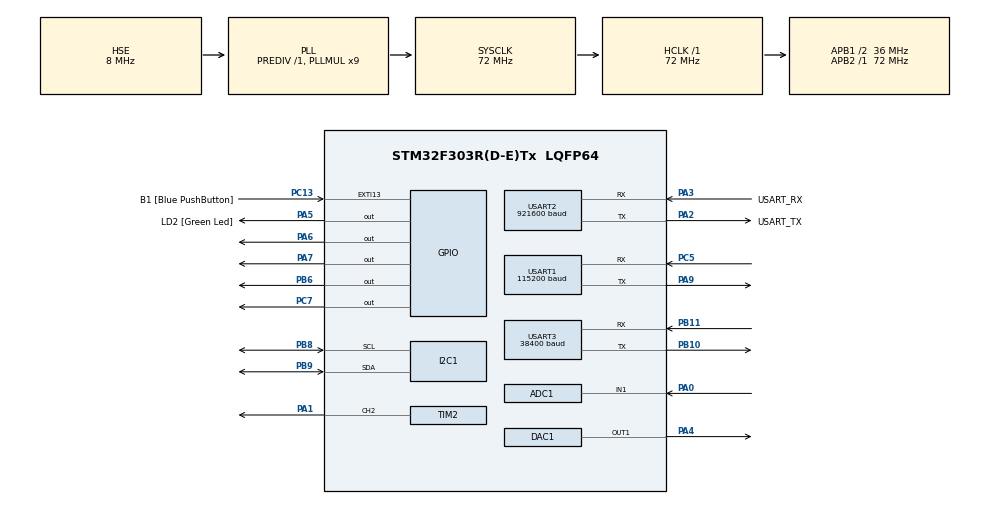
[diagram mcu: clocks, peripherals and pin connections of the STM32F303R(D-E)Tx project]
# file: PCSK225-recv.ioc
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ADC1.Channel-0\#ChannelRegularConversion=ADC_CHANNEL_1
ADC1.ClockPrescaler=ADC_CLOCK_SYNC_PCLK_DIV1
ADC1.ContinuousConvMode=DISABLE
ADC1.DMAContinuousRequests=ENABLE
ADC1.ExternalTrigConv=ADC_EXTERNALTRIGCONV_T3_TRGO
ADC1.NbrOfConversionFlag=1
ADC1.Offset-0\#ChannelRegularConversion=0
ADC1.OffsetNumber-0\#ChannelRegularConversion=ADC_OFFSET_NONE
ADC1.Rank-0\#ChannelRegularConversion=1
ADC1.Resolution=ADC_RESOLUTION_12B
ADC1.SamplingTime-0\#ChannelRegularConversion=ADC_SAMPLETIME_19CYCLES_5
ADC1.master=1
DAC1.DAC_Trigger=DAC_TRIGGER_T4_TRGO
Dma.ADC1.0.Direction=DMA_PERIPH_TO_MEMORY
Dma.ADC1.0.Instance=DMA1_Channel1
Dma.ADC1.0.MemDataAlignment=DMA_MDATAALIGN_HALFWORD
Dma.ADC1.0.MemInc=DMA_MINC_ENABLE
Dma.ADC1.0.Mode=DMA_CIRCULAR
Dma.ADC1.0.PeriphDataAlignment=DMA_PDATAALIGN_HALFWORD
Dma.ADC1.0.PeriphInc=DMA_PINC_DISABLE
Dma.ADC1.0.Priority=DMA_PRIORITY_LOW
Dma.DAC1_CH1.1.Direction=DMA_MEMORY_TO_PERIPH
Dma.DAC1_CH1.1.Instance=DMA1_Channel3
Dma.DAC1_CH1.1.MemDataAlignment=DMA_MDATAALIGN_HALFWORD
Dma.DAC1_CH1.1.MemInc=DMA_MINC_ENABLE
Dma.DAC1_CH1.1.Mode=DMA_CIRCULAR
Dma.DAC1_CH1.1.PeriphDataAlignment=DMA_PDATAALIGN_HALFWORD
Dma.DAC1_CH1.1.PeriphInc=DMA_PINC_DISABLE
Dma.DAC1_CH1.1.Priority=DMA_PRIORITY_LOW
Dma.Request0=ADC1
Dma.Request1=DAC1_CH1
Dma.Request2=USART2_TX
Dma.Request3=USART1_TX
Dma.Request4=USART3_TX
Dma.USART1_TX.3.Direction=DMA_MEMORY_TO_PERIPH
Dma.USART1_TX.3.Instance=DMA1_Channel4
Dma.USART1_TX.3.MemDataAlignment=DMA_MDATAALIGN_BYTE
Dma.USART1_TX.3.MemInc=DMA_MINC_ENABLE
Dma.USART1_TX.3.Mode=DMA_NORMAL
Dma.USART1_TX.3.PeriphDataAlignment=DMA_PDATAALIGN_BYTE
Dma.USART1_TX.3.PeriphInc=DMA_PINC_DISABLE
Dma.USART1_TX.3.Priority=DMA_PRIORITY_LOW
Dma.USART2_TX.2.Direction=DMA_MEMORY_TO_PERIPH
Dma.USART2_TX.2.Instance=DMA1_Channel7
Dma.USART2_TX.2.MemDataAlignment=DMA_MDATAALIGN_BYTE
Dma.USART2_TX.2.MemInc=DMA_MINC_ENABLE
Dma.USART2_TX.2.Mode=DMA_NORMAL
Dma.USART2_TX.2.PeriphDataAlignment=DMA_PDATAALIGN_BYTE
Dma.USART2_TX.2.PeriphInc=DMA_PINC_DISABLE
Dma.USART2_TX.2.Priority=DMA_PRIORITY_LOW
Dma.USART3_TX.4.Direction=DMA_MEMORY_TO_PERIPH
Dma.USART3_TX.4.Instance=DMA1_Channel2
Dma.USART3_TX.4.MemDataAlignment=DMA_MDATAALIGN_BYTE
Dma.USART3_TX.4.MemInc=DMA_MINC_ENABLE
Dma.USART3_TX.4.Mode=DMA_NORMAL
Dma.USART3_TX.4.PeriphDataAlignment=DMA_PDATAALIGN_BYTE
Dma.USART3_TX.4.PeriphInc=DMA_PINC_DISABLE
Dma.USART3_TX.4.Priority=DMA_PRIORITY_LOW
I2C1.Timing=0x00201D2B
Mcu.Family=STM32F3
Mcu.Name=STM32F303R(D-E)Tx
Mcu.Package=LQFP64
NVIC.DMA1_Channel1_IRQn=true\:0\:0\:false\:false\:true\:false\:true\:true
NVIC.DMA1_Channel2_IRQn=true\:0\:0\:false\:false\:true\:false\:true\:true
NVIC.DMA1_Channel3_IRQn=true\:0\:0\:false\:false\:true\:false\:true\:true
NVIC.DMA1_Channel4_IRQn=true\:0\:0\:false\:false\:true\:false\:true\:true
NVIC.DMA1_Channel7_IRQn=true\:0\:0\:false\:false\:true\:false\:true\:true
NVIC.PriorityGroup=NVIC_PRIORITYGROUP_0
NVIC.TIM1_UP_TIM16_IRQn=true\:0\:0\:false\:false\:true\:true\:true\:true
NVIC.TIM2_IRQn=true\:0\:0\:false\:false\:true\:true\:true\:true
NVIC.USART1_IRQn=true\:0\:0\:false\:false\:true\:true\:true\:true
NVIC.USART2_IRQn=true\:0\:0\:false\:false\:true\:true\:true\:true
NVIC.USART3_IRQn=true\:0\:0\:false\:false\:true\:true\:true\:true
PA0.Mode=IN1-Single-Ended
PA0.Signal=ADC1_IN1
PA1.Signal=S_TIM2_CH2
PA13.GPIO_Label=TMS
PA13.Mode=Serial_Wire
PA13.Signal=SYS_JTMS-SWDIO
PA14.GPIO_Label=TCK
PA14.Mode=Serial_Wire
PA14.Signal=SYS_JTCK-SWCLK
PA2.GPIO_Label=USART_TX
PA2.GPIO_Mode=GPIO_MODE_AF_PP
PA2.GPIO_PuPd=GPIO_NOPULL
PA2.GPIO_Speed=GPIO_SPEED_FREQ_LOW
PA2.Mode=Asynchronous
PA2.Signal=USART2_TX
PA3.GPIO_Label=USART_RX
PA3.GPIO_Mode=GPIO_MODE_AF_PP
PA3.GPIO_PuPd=GPIO_NOPULL
PA3.GPIO_Speed=GPIO_SPEED_FREQ_LOW
PA3.Mode=Asynchronous
PA3.Signal=USART2_RX
PA4.Signal=COMP_DAC11_group
PA5.GPIO_Label=LD2 [Green Led]
PA5.GPIO_Mode=GPIO_MODE_OUTPUT_PP
PA5.GPIO_PuPd=GPIO_NOPULL
PA5.GPIO_Speed=GPIO_SPEED_FREQ_LOW
PA5.Signal=GPIO_Output
PA6.Signal=GPIO_Output
PA7.Signal=GPIO_Output
PA9.Mode=Asynchronous
PA9.Signal=USART1_TX
PB10.Mode=Asynchronous
PB10.Signal=USART3_TX
PB11.Mode=Asynchronous
PB11.Signal=USART3_RX
PB3.GPIO_Label=SWO
PB3.Signal=SYS_JTDO-TRACESWO
PB6.Signal=GPIO_Output
PB8.Mode=I2C
PB8.Signal=I2C1_SCL
PB9.Mode=I2C
PB9.Signal=I2C1_SDA
PC13.GPIO_Label=B1 [Blue PushButton]
PC13.GPIO_ModeDefaultEXTI=GPIO_MODE_IT_FALLING
PC13.Signal=GPXTI13
PC14-OSC32_IN.Mode=LSE-External-Oscillator
PC14-OSC32_IN.Signal=RCC_OSC32_IN
PC15-OSC32_OUT.Mode=LSE-External-Oscillator
PC15-OSC32_OUT.Signal=RCC_OSC32_OUT
PC5.Mode=Asynchronous
PC5.Signal=USART1_RX
PC7.Signal=GPIO_Output
PF0-OSC_IN.Mode=HSE-External-Clock-Source
PF0-OSC_IN.Signal=RCC_OSC_IN
PF1-OSC_OUT.Signal=RCC_OSC_OUT
ProjectManager.HeapSize=0x200
ProjectManager.StackSize=0x400
ProjectManager.TargetToolchain=STM32CubeIDE
RCC.AHBFreq_Value=72000000
RCC.APB1CLKDivider=RCC_HCLK_DIV2
RCC.APB1Freq_Value=36000000
RCC.APB1TimFreq_Value=72000000
RCC.APB2Freq_Value=72000000
RCC.APB2TimFreq_Value=72000000
RCC.CortexFreq_Value=72000000
RCC.HCLKFreq_Value=72000000
RCC.HSE_VALUE=8000000
RCC.HSI_VALUE=8000000
RCC.PLLM=8
RCC.PLLMUL=RCC_PLL_MUL9
RCC.PLLN=336
RCC.PLLP=RCC_PLLP_DIV4
RCC.PLLQ=7
RCC.PLLSourceVirtual=RCC_PLLSOURCE_HSE
RCC.RCC_PLLsource_Clock_Source_FROM_HSE=RCC_HSE_PREDIV_DIV2
RCC.SYSCLKFreq_VALUE=72000000
RCC.SYSCLKSourceVirtual=RCC_SYSCLKSOURCE_PLLCLK
RCC.USBFreq_Value=72000000
SH.COMP_DAC11_group.0=DAC1_OUT1,DAC_OUT1
SH.S_TIM2_CH2.0=TIM2_CH2,PWM Generation2 CH2
TIM1.Period=18000
TIM1.Prescaler=7999
TIM2.Channel-PWM\ Generation2\ CH2=TIM_CHANNEL_2
TIM2.OCPolarity_2=TIM_OCPOLARITY_HIGH
TIM2.Period=71999999
TIM3.Period=31
TIM3.TIM_MasterOutputTrigger=TIM_TRGO_UPDATE
TIM4.Period=8191
TIM4.TIM_MasterOutputTrigger=TIM_TRGO_UPDATE
USART1.BaudRate=115200
USART1.VirtualMode-Asynchronous=VM_ASYNC
USART2.BaudRate=921600
USART2.VirtualMode-Asynchronous=VM_ASYNC
USART3.BaudRate=38400
USART3.VirtualMode-Asynchronous=VM_ASYNC
VP_TIM1_VS_ClockSourceINT.Mode=Internal
VP_TIM2_VS_ClockSourceINT.Mode=Internal
VP_TIM3_VS_ClockSourceINT.Mode=Internal
VP_TIM4_VS_ClockSourceINT.Mode=Internal
board=NUCLEO-F303RE

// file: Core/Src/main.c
/* USER CODE BEGIN Header */
/**
  ******************************************************************************
  * @file           : main.c
  * @brief          : Main program body
  ******************************************************************************
  * @attention
  *
  * Copyright (c) 2025 STMicroelectronics.
  * All rights reserved.
  *
  * This software is licensed under terms that can be found in the LICENSE file
  * in the root directory of this software component.
  * If no LICENSE file comes with this software, it is provided AS-IS.
  *
  ******************************************************************************
  */
/* USER CODE END Header */
#include "main.h"

/* USER CODE BEGIN Includes */
#include <math.h>

#include "iq.h"

#include "datetime/nmea.h"
#include "mixers/ifMix.h"
#include "detectors/am.h"
#include "detectors/arctg2.h"
#include "detectors/pll.h"
#include "detectors/phaseMod.h"

#include "filters/dcOffset.h"
#include "filters/agc.h"

#include "decoders/pcsk225.h"
#include "decoders/eczas.h"

/* USER CODE END Includes */

/* USER CODE BEGIN PD */

// ADC cycles per sample
#define RF_TICKS_PER_SAMPLE 32

// rf sample rate
// cpu freq / ADC cycles per sample -> ~2.25 MSPS
#define RF_SAMPLE_RATE 72000000 / RF_TICKS_PER_SAMPLE

#define INPUT_SAMPLES 8192
#define INPUT_HALF_SAMPLES INPUT_SAMPLES/2

#define RF_IF_DECIMATION_POW2	8	//=256

#define AF_SAMPLE_RATE (RF_SAMPLE_RATE>>RF_IF_DECIMATION_POW2)

#define AF_SAMPLES (INPUT_SAMPLES>>RF_IF_DECIMATION_POW2)
#define AF_HALF_SAMPLES AF_SAMPLES/2

// AF ticks per sample (RF ticks per sample*decimation ratio)
#define AF_TICKS_PER_SAMPLE (RF_TICKS_PER_SAMPLE<<RF_IF_DECIMATION_POW2)

#define OUTPUT_SAMPLES 128
#define OUTPUT_HALF_SAMPLES OUTPUT_SAMPLES/2

#define UART_BUFFER (AF_HALF_SAMPLES*4+2)

/* USER CODE END PD */

ADC_HandleTypeDef hadc1;
DMA_HandleTypeDef hdma_adc1;

DAC_HandleTypeDef hdac1;
DMA_HandleTypeDef hdma_dac1_ch1;

I2C_HandleTypeDef hi2c1;

TIM_HandleTypeDef htim1;
TIM_HandleTypeDef htim2;
TIM_HandleTypeDef htim3;
TIM_HandleTypeDef htim4;

UART_HandleTypeDef huart1;
UART_HandleTypeDef huart2;
UART_HandleTypeDef huart3;
DMA_HandleTypeDef hdma_usart1_tx;
DMA_HandleTypeDef hdma_usart2_tx;
DMA_HandleTypeDef hdma_usart3_tx;

void SystemClock_Config(void);
static void MX_GPIO_Init(void);
static void MX_DMA_Init(void);
static void MX_USART2_UART_Init(void);
static void MX_ADC1_Init(void);
static void MX_DAC1_Init(void);
static void MX_TIM3_Init(void);
static void MX_USART3_UART_Init(void);
static void MX_I2C1_Init(void);
static void MX_USART1_UART_Init(void);
static void MX_TIM4_Init(void);
static void MX_TIM2_Init(void);
static void MX_TIM1_Init(void);
/* USER CODE BEGIN PFP */

uint16_t dacOut[OUTPUT_SAMPLES] = {0};
uint16_t rf[INPUT_SAMPLES];

uint16_t *rfFrameBegin = rf;
uint16_t *rfFrameHalf = &rf[INPUT_HALF_SAMPLES];

// these variables are updated from ADC full/half complete interrupts
volatile size_t rfFrameUpdated = INPUT_SAMPLES;
volatile size_t afFrameToUpdate = 0;

size_t rfFrameLastUpdated = 0;

//AF I and Q
struct IQ af_IQ[AF_SAMPLES];
struct IQ *afFrameBegin = af_IQ;
struct IQ *afFrameHalf = &af_IQ[AF_HALF_SAMPLES];
struct IQ *afFrameEnd = &af_IQ[AF_SAMPLES];

struct IQ *afCurrentFrame = af_IQ;

struct IQ filteredIQ;

size_t dacOutPushed = 0;

uint8_t txData[UART_BUFFER] = {0};
size_t txDataPushed = 0;

#define DC_OFFSET_FILTER_WINDOW_ORDER 7		//128
uint16_t dcOffset;

#define AGC_FILTER_WINDOW_ORDER 8		//256
uint32_t agc;

// num of samples from sync bit peak occured to detected
// shared to phaseMod, but needed to calculate sync diff
const uint32_t phaseModSyncBitWidth = 100;

// num of samples per PCSK225 bit (calculated by phaseMod_init)
uint32_t samplesPerPcskBit = 0;

enum {
	IDLE,
	DECODE_PCSK225,
	DECODE_ECZAS
} decoderState = IDLE;

pcsk225Frame pcsk;
eCzasFrame eCzas;

// master timer (seconds from 2000), update from timer irq
volatile uint32_t mstTimer = 0;

// flag that tick happened (set from timer irq, reset by loop)
volatile uint32_t wasTick = 0;

// flag that was sync interrupt (set from sync timer irq, reset by loop)
volatile uint32_t wasSyncIRQ = 0;

// flag that locks resetting sync timer if started to receive sync frame
volatile uint32_t lockSyncTimerReset = 0;

// flag that occurs that we have recived legit eCzas frame and will be used to sync
volatile uint32_t eczasFrameRecvd = 0;

// offset between first bit and sync timer started in samples
volatile uint32_t syncTimerOffset = 0;

// sync status
typedef enum {
	INIT_NO_SYNC,
	SYNCED,
	SYNC_LOST
} syncState_t;

syncState_t syncState = INIT_NO_SYNC;
syncState_t prevSyncState = INIT_NO_SYNC;

// timestamp of last sync	(0 means no sync)
uint32_t lastSyncAt = 0;

/* USER CODE END PFP */

int main(void)
{

  /* MCU Configuration--------------------------------------------------------*/

  /* Reset of all peripherals, Initializes the Flash interface and the Systick. */
  HAL_Init();

  /* Configure the system clock */
  SystemClock_Config();

  /* Initialize all configured peripherals */
  MX_GPIO_Init();
  MX_DMA_Init();
  MX_USART2_UART_Init();
  MX_ADC1_Init();
  MX_DAC1_Init();
  MX_TIM3_Init();
  MX_USART3_UART_Init();
  MX_I2C1_Init();
  MX_USART1_UART_Init();
  MX_TIM4_Init();
  MX_TIM2_Init();
  MX_TIM1_Init();
  /* USER CODE BEGIN 2 */

  HAL_DAC_Start_DMA(&hdac1, DAC_CHANNEL_1, (uint32_t*)dacOut, OUTPUT_SAMPLES, DAC_ALIGN_12B_R);
  HAL_TIM_Base_Start(&htim4);

  HAL_ADC_Start_DMA(&hadc1,(uint32_t*)rf,INPUT_SAMPLES);
  HAL_TIM_Base_Start(&htim3);

  //init filters
  dcOffset_init(DC_OFFSET_FILTER_WINDOW_ORDER);
  agc_init(AGC_FILTER_WINDOW_ORDER);
  filteredIQ.i = 0;
  filteredIQ.q = 0;

  //init mixers
  ifMix_init(RF_SAMPLE_RATE,RF_IF_DECIMATION_POW2,&dcOffset);
  ifMix_setFreq(225000);

  //init detectors
  amDetector_init();
  pll_init(RF_SAMPLE_RATE,0);
  samplesPerPcskBit = phaseMod_init(AF_SAMPLE_RATE,50,phaseModSyncBitWidth);

  // init PPS timer
  HAL_TIM_PWM_Start(&htim2, TIM_CHANNEL_2);
  __HAL_TIM_SET_COMPARE(&htim2, TIM_CHANNEL_2, 0);	// no PWM cause we are not synced yet
  __HAL_TIM_ENABLE_IT(&htim2, TIM_IT_UPDATE);

  HAL_TIM_Base_Start_IT(&htim1);

  /* USER CODE END 2 */

  /* Infinite loop */
  while (1)
  {

    /* USER CODE BEGIN 3 */

	  // check first if rfFrameUpdated does not overflow RF array
	  if (rfFrameUpdated < INPUT_SAMPLES && rfFrameUpdated != rfFrameLastUpdated) {

		  struct IQ *afBufferBegin = &af_IQ[afFrameToUpdate];
		  struct IQ *afBufferEnd = &af_IQ[afFrameToUpdate+AF_HALF_SAMPLES];

		  ifMix_Mix(&rf[rfFrameUpdated], &rf[rfFrameUpdated+INPUT_HALF_SAMPLES],afBufferBegin);

		  // update dcOffset
		  dcOffset = dcOffset_filter(*rfFrameBegin);

		  //update AGC
		  agc = agc_update(*rfFrameBegin-dcOffset);

		  txData[0] = 0xFF;
		  txData[1] = 0xFF;
		  uint8_t *txBuffer = txData+2;

		  struct IQ *afBuffer = afBufferBegin;
		  while(afBuffer < afBufferEnd) {

			  // Automatic gain control
			  int32_t I = afBuffer->i * agc;
			  int32_t Q = afBuffer->q * agc;

			  //filter IQ
			  filteredIQ.i += (I - filteredIQ.i) >> 4;
			  filteredIQ.q += (Q - filteredIQ.q) >> 4;

			  int32_t amSample;
			  amDetector_detectSample(&filteredIQ,&amSample);
			  dacOut[dacOutPushed] = (amSample >> 8) & 0xFFFF;
			  dacOutPushed++;
			  if(dacOutPushed >= OUTPUT_SAMPLES) dacOutPushed = 0;

			  uint32_t angle = IQarctg2(&filteredIQ);
			  uint32_t pll = 0;
			  uint32_t phaseLocked = pll_detect(angle,&pll);

			  if (phaseLocked) {
				  int32_t phaseMod = angle - pll;
				  phaseModReturn_t phaseModRet = (uint16_t)phaseMod_push(phaseMod);

				  if (phaseModRet == FOUND_SYNC_ZERO) {
					  // Calculate time diff
					  // samples from current sample to end + samples from middle of sync sample to sample which confirms it
					  syncTimerOffset = afBufferEnd-afBuffer + phaseModSyncBitWidth;

					  // lock timer resetting by ADC callbacks
					  lockSyncTimerReset = 1;
				  } else if (phaseModRet == FULL_FRAME_RECVD) {
					  //schedule decooding PCSK225 frame
					  decoderState = DECODE_PCSK225;
				  } else if (phaseModRet == FAIL_INVALID_PREAMBLE) {
					  // corrupted frame, reset timer
					  lockSyncTimerReset = 0;
				  }
			  } else {
				  // reset phaseMod internal state machine and Rx LED
				  phaseMod_cancel();
			  }

			  // GNU radio output
			  uint16_t i_val = (uint16_t)((afBuffer->i >> 4) & 0xFFFF);
			  uint16_t q_val = (uint16_t)((afBuffer->q >> 4) & 0xFFFF);
			  if(i_val == 0xFFFF) i_val = 0xFFFE;
			  if(q_val == 0xFFFF) q_val = 0xFFFE;

			  txBuffer[0] = (i_val >> 8) & 0xFF;
			  txBuffer[1] = i_val & 0xFF;
			  txBuffer[2] = (q_val >> 8) & 0xFF;
			  txBuffer[3] = q_val & 0xFF;
			  txBuffer+=4;

			  afBuffer++;
		  }

		  //push compressed audio to UART
		  while (huart2.gState != HAL_UART_STATE_READY);
		  HAL_UART_Transmit_DMA(&huart2,txData,sizeof(txData));

		  //AF buffer hop and rollover
		  afCurrentFrame += AF_HALF_SAMPLES;
		  if(afCurrentFrame >= afFrameEnd) afCurrentFrame = afFrameBegin;

		  //IF buffer swap to wait from next update from ISR
		  rfFrameLastUpdated = rfFrameUpdated;

		  // do not do nothing more
		  continue;
	  }

	  if (decoderState == DECODE_PCSK225) {
		  size_t len = 0;
		  uint8_t *data = phaseMod_getBitstream(&len);

		  pcsk225_decode(data,len,&pcsk);
		  pcsk225_print(&huart1,&pcsk);

		  if (pcsk.header == 0x60) {
			  // calculate offset between first met header bit and real first header bit
			  size_t missingHeaderBits = 16-pcsk.preambleLen;
			  syncTimerOffset += missingHeaderBits*samplesPerPcskBit;

			  decoderState = DECODE_ECZAS;
		  } else {
			  //cancel timer lock
			  lockSyncTimerReset = 0;
			  decoderState = IDLE;
		  }
	  } else if (decoderState == DECODE_ECZAS) {
			  eCzas_decode(&pcsk,&eCzas);
			  // uncomment for debug info (but it may stuck waiting for UART free so
			  // eCzas_print(&huart1,&eCzas);

			  if (eCzas_verify(&eCzas)) {
				  // we have received legit frame
				  eczasFrameRecvd = 1;
			  } else {
				  //cancel timer lock
				  lockSyncTimerReset = 0;
			  }

			  decoderState = IDLE;
	  }

	  if (wasTick) {
		  wasTick = 0;

		  // send timestamp over NMEA interface (if synced only, severy 10 secs)
		  if (syncState == SYNCED && mstTimer % 10 == 0) {
			  // get secs/100 (PPS timer value/ticks per 1/100 sec)
			  uint32_t secCents = __HAL_TIM_GET_COUNTER(&htim2)/720000;
			  nmea_sendGPRMCFromTimestamp(&huart3,mstTimer,secCents);
		  }
	  } else if (wasSyncIRQ) {
		  wasSyncIRQ = 0;

		  // sync timers
		  if (eczasFrameRecvd) {
			  eczasFrameRecvd = 0;

			  // received frame describes the time which was
			  // 2 secs (timer period) + time diff ( <1s, loaded to PPS timer)
			  mstTimer = eCzas.counter*3 + 2;

			  // set sync flags
			  lastSyncAt = mstTimer;
			  syncState = SYNCED;
		  }

		  //unlock sync timer resets
		  lockSyncTimerReset = 0;
	  }

	  // Sync status state machine
	  if (syncState == INIT_NO_SYNC && mstTimer > 180) {
		  // not synced from 3 minutes
		  syncState = SYNC_LOST;
	  } else if (syncState == SYNCED) {
		  int32_t timeFromLastSync = mstTimer - lastSyncAt;
		  if (timeFromLastSync > 3600) {
			  //was synced but no sync for 1 hour
			  syncState = SYNC_LOST;
		  }
	  }

	  if (prevSyncState != syncState) {

		  // toggle PPS output
		  __HAL_TIM_SET_COMPARE(&htim2, TIM_CHANNEL_2,
				  syncState == SYNCED ? 3600000 : 0
		  );

		  // deal with ERROR output
		  HAL_GPIO_WritePin(GPIOC, GPIO_PIN_7, (syncState == SYNC_LOST));

		  prevSyncState = syncState;
	  }

  }
  /* USER CODE END 3 */
}

void SystemClock_Config(void)
{
  RCC_OscInitTypeDef RCC_OscInitStruct = {0};
  RCC_ClkInitTypeDef RCC_ClkInitStruct = {0};
  RCC_PeriphCLKInitTypeDef PeriphClkInit = {0};

  /** Initializes the RCC Oscillators according to the specified parameters
  * in the RCC_OscInitTypeDef structure.
  */
  RCC_OscInitStruct.OscillatorType = RCC_OSCILLATORTYPE_HSI|RCC_OSCILLATORTYPE_HSE;
  RCC_OscInitStruct.HSEState = RCC_HSE_BYPASS;
  RCC_OscInitStruct.HSIState = RCC_HSI_ON;
  RCC_OscInitStruct.HSICalibrationValue = RCC_HSICALIBRATION_DEFAULT;
  RCC_OscInitStruct.PLL.PLLState = RCC_PLL_ON;
  RCC_OscInitStruct.PLL.PLLSource = RCC_PLLSOURCE_HSE;
  RCC_OscInitStruct.PLL.PLLMUL = RCC_PLL_MUL9;
  RCC_OscInitStruct.PLL.PREDIV = RCC_PREDIV_DIV1;
  if (HAL_RCC_OscConfig(&RCC_OscInitStruct) != HAL_OK)
  {
    Error_Handler();
  }

  /** Initializes the CPU, AHB and APB buses clocks
  */
  RCC_ClkInitStruct.ClockType = RCC_CLOCKTYPE_HCLK|RCC_CLOCKTYPE_SYSCLK
                              |RCC_CLOCKTYPE_PCLK1|RCC_CLOCKTYPE_PCLK2;
  RCC_ClkInitStruct.SYSCLKSource = RCC_SYSCLKSOURCE_PLLCLK;
  RCC_ClkInitStruct.AHBCLKDivider = RCC_SYSCLK_DIV1;
  RCC_ClkInitStruct.APB1CLKDivider = RCC_HCLK_DIV2;
  RCC_ClkInitStruct.APB2CLKDivider = RCC_HCLK_DIV1;

  if (HAL_RCC_ClockConfig(&RCC_ClkInitStruct, FLASH_LATENCY_2) != HAL_OK)
  {
    Error_Handler();
  }
  PeriphClkInit.PeriphClockSelection = RCC_PERIPHCLK_USART1|RCC_PERIPHCLK_USART2
                              |RCC_PERIPHCLK_USART3|RCC_PERIPHCLK_I2C1
                              |RCC_PERIPHCLK_TIM1|RCC_PERIPHCLK_TIM2
                              |RCC_PERIPHCLK_TIM34;
  PeriphClkInit.Usart1ClockSelection = RCC_USART1CLKSOURCE_PCLK2;
  PeriphClkInit.Usart2ClockSelection = RCC_USART2CLKSOURCE_PCLK1;
  PeriphClkInit.Usart3ClockSelection = RCC_USART3CLKSOURCE_PCLK1;
  PeriphClkInit.I2c1ClockSelection = RCC_I2C1CLKSOURCE_HSI;
  PeriphClkInit.Tim1ClockSelection = RCC_TIM1CLK_HCLK;
  PeriphClkInit.Tim2ClockSelection = RCC_TIM2CLK_HCLK;
  PeriphClkInit.Tim34ClockSelection = RCC_TIM34CLK_HCLK;
  if (HAL_RCCEx_PeriphCLKConfig(&PeriphClkInit) != HAL_OK)
  {
    Error_Handler();
  }
}

static void MX_ADC1_Init(void)
{

  ADC_MultiModeTypeDef multimode = {0};
  ADC_ChannelConfTypeDef sConfig = {0};

  /** Common config
  */
  hadc1.Instance = ADC1;
  hadc1.Init.ClockPrescaler = ADC_CLOCK_SYNC_PCLK_DIV1;
  hadc1.Init.Resolution = ADC_RESOLUTION_12B;
  hadc1.Init.ScanConvMode = ADC_SCAN_DISABLE;
  hadc1.Init.ContinuousConvMode = DISABLE;
  hadc1.Init.DiscontinuousConvMode = DISABLE;
  hadc1.Init.ExternalTrigConvEdge = ADC_EXTERNALTRIGCONVEDGE_RISING;
  hadc1.Init.ExternalTrigConv = ADC_EXTERNALTRIGCONV_T3_TRGO;
  hadc1.Init.DataAlign = ADC_DATAALIGN_RIGHT;
  hadc1.Init.NbrOfConversion = 1;
  hadc1.Init.DMAContinuousRequests = ENABLE;
  hadc1.Init.EOCSelection = ADC_EOC_SINGLE_CONV;
  hadc1.Init.LowPowerAutoWait = DISABLE;
  hadc1.Init.Overrun = ADC_OVR_DATA_OVERWRITTEN;
  if (HAL_ADC_Init(&hadc1) != HAL_OK)
  {
    Error_Handler();
  }

  /** Configure the ADC multi-mode
  */
  multimode.Mode = ADC_MODE_INDEPENDENT;
  if (HAL_ADCEx_MultiModeConfigChannel(&hadc1, &multimode) != HAL_OK)
  {
    Error_Handler();
  }

  /** Configure Regular Channel
  */
  sConfig.Channel = ADC_CHANNEL_1;
  sConfig.Rank = ADC_REGULAR_RANK_1;
  sConfig.SingleDiff = ADC_SINGLE_ENDED;
  sConfig.SamplingTime = ADC_SAMPLETIME_19CYCLES_5;
  sConfig.OffsetNumber = ADC_OFFSET_NONE;
  sConfig.Offset = 0;
  if (HAL_ADC_ConfigChannel(&hadc1, &sConfig) != HAL_OK)
  {
    Error_Handler();
  }

}

static void MX_DAC1_Init(void)
{

  DAC_ChannelConfTypeDef sConfig = {0};

  /** DAC Initialization
  */
  hdac1.Instance = DAC1;
  if (HAL_DAC_Init(&hdac1) != HAL_OK)
  {
    Error_Handler();
  }

  /** DAC channel OUT1 config
  */
  sConfig.DAC_Trigger = DAC_TRIGGER_T4_TRGO;
  sConfig.DAC_OutputBuffer = DAC_OUTPUTBUFFER_ENABLE;
  if (HAL_DAC_ConfigChannel(&hdac1, &sConfig, DAC_CHANNEL_1) != HAL_OK)
  {
    Error_Handler();
  }

}

static void MX_I2C1_Init(void)
{

  hi2c1.Instance = I2C1;
  hi2c1.Init.Timing = 0x00201D2B;
  hi2c1.Init.OwnAddress1 = 0;
  hi2c1.Init.AddressingMode = I2C_ADDRESSINGMODE_7BIT;
  hi2c1.Init.DualAddressMode = I2C_DUALADDRESS_DISABLE;
  hi2c1.Init.OwnAddress2 = 0;
  hi2c1.Init.OwnAddress2Masks = I2C_OA2_NOMASK;
  hi2c1.Init.GeneralCallMode = I2C_GENERALCALL_DISABLE;
  hi2c1.Init.NoStretchMode = I2C_NOSTRETCH_DISABLE;
  if (HAL_I2C_Init(&hi2c1) != HAL_OK)
  {
    Error_Handler();
  }

  /** Configure Analogue filter
  */
  if (HAL_I2CEx_ConfigAnalogFilter(&hi2c1, I2C_ANALOGFILTER_ENABLE) != HAL_OK)
  {
    Error_Handler();
  }

  /** Configure Digital filter
  */
  if (HAL_I2CEx_ConfigDigitalFilter(&hi2c1, 0) != HAL_OK)
  {
    Error_Handler();
  }

}

static void MX_TIM1_Init(void)
{

  TIM_ClockConfigTypeDef sClockSourceConfig = {0};
  TIM_MasterConfigTypeDef sMasterConfig = {0};

  htim1.Instance = TIM1;
  htim1.Init.Prescaler = 7999;
  htim1.Init.CounterMode = TIM_COUNTERMODE_UP;
  htim1.Init.Period = 18000;
  htim1.Init.ClockDivision = TIM_CLOCKDIVISION_DIV1;
  htim1.Init.RepetitionCounter = 0;
  htim1.Init.AutoReloadPreload = TIM_AUTORELOAD_PRELOAD_DISABLE;
  if (HAL_TIM_Base_Init(&htim1) != HAL_OK)
  {
    Error_Handler();
  }
  sClockSourceConfig.ClockSource = TIM_CLOCKSOURCE_INTERNAL;
  if (HAL_TIM_ConfigClockSource(&htim1, &sClockSourceConfig) != HAL_OK)
  {
    Error_Handler();
  }
  sMasterConfig.MasterOutputTrigger = TIM_TRGO_RESET;
  sMasterConfig.MasterOutputTrigger2 = TIM_TRGO2_RESET;
  sMasterConfig.MasterSlaveMode = TIM_MASTERSLAVEMODE_DISABLE;
  if (HAL_TIMEx_MasterConfigSynchronization(&htim1, &sMasterConfig) != HAL_OK)
  {
    Error_Handler();
  }

}

static void MX_TIM2_Init(void)
{

  TIM_ClockConfigTypeDef sClockSourceConfig = {0};
  TIM_MasterConfigTypeDef sMasterConfig = {0};
  TIM_OC_InitTypeDef sConfigOC = {0};

  htim2.Instance = TIM2;
  htim2.Init.Prescaler = 0;
  htim2.Init.CounterMode = TIM_COUNTERMODE_UP;
  htim2.Init.Period = 71999999;
  htim2.Init.ClockDivision = TIM_CLOCKDIVISION_DIV1;
  htim2.Init.AutoReloadPreload = TIM_AUTORELOAD_PRELOAD_DISABLE;
  if (HAL_TIM_Base_Init(&htim2) != HAL_OK)
  {
    Error_Handler();
  }
  sClockSourceConfig.ClockSource = TIM_CLOCKSOURCE_INTERNAL;
  if (HAL_TIM_ConfigClockSource(&htim2, &sClockSourceConfig) != HAL_OK)
  {
    Error_Handler();
  }
  if (HAL_TIM_PWM_Init(&htim2) != HAL_OK)
  {
    Error_Handler();
  }
  sMasterConfig.MasterOutputTrigger = TIM_TRGO_RESET;
  sMasterConfig.MasterSlaveMode = TIM_MASTERSLAVEMODE_DISABLE;
  if (HAL_TIMEx_MasterConfigSynchronization(&htim2, &sMasterConfig) != HAL_OK)
  {
    Error_Handler();
  }
  sConfigOC.OCMode = TIM_OCMODE_PWM1;
  sConfigOC.Pulse = 0;
  sConfigOC.OCPolarity = TIM_OCPOLARITY_HIGH;
  sConfigOC.OCFastMode = TIM_OCFAST_DISABLE;
  if (HAL_TIM_PWM_ConfigChannel(&htim2, &sConfigOC, TIM_CHANNEL_2) != HAL_OK)
  {
    Error_Handler();
  }
  HAL_TIM_MspPostInit(&htim2);

}

static void MX_TIM3_Init(void)
{

  TIM_ClockConfigTypeDef sClockSourceConfig = {0};
  TIM_MasterConfigTypeDef sMasterConfig = {0};

  htim3.Instance = TIM3;
  htim3.Init.Prescaler = 0;
  htim3.Init.CounterMode = TIM_COUNTERMODE_UP;
  htim3.Init.Period = 31;
  htim3.Init.ClockDivision = TIM_CLOCKDIVISION_DIV1;
  htim3.Init.AutoReloadPreload = TIM_AUTORELOAD_PRELOAD_DISABLE;
  if (HAL_TIM_Base_Init(&htim3) != HAL_OK)
  {
    Error_Handler();
  }
  sClockSourceConfig.ClockSource = TIM_CLOCKSOURCE_INTERNAL;
  if (HAL_TIM_ConfigClockSource(&htim3, &sClockSourceConfig) != HAL_OK)
  {
    Error_Handler();
  }
  sMasterConfig.MasterOutputTrigger = TIM_TRGO_UPDATE;
  sMasterConfig.MasterSlaveMode = TIM_MASTERSLAVEMODE_DISABLE;
  if (HAL_TIMEx_MasterConfigSynchronization(&htim3, &sMasterConfig) != HAL_OK)
  {
    Error_Handler();
  }

}

static void MX_TIM4_Init(void)
{

  TIM_ClockConfigTypeDef sClockSourceConfig = {0};
  TIM_MasterConfigTypeDef sMasterConfig = {0};

  htim4.Instance = TIM4;
  htim4.Init.Prescaler = 0;
  htim4.Init.CounterMode = TIM_COUNTERMODE_UP;
  htim4.Init.Period = 8191;
  htim4.Init.ClockDivision = TIM_CLOCKDIVISION_DIV1;
  htim4.Init.AutoReloadPreload = TIM_AUTORELOAD_PRELOAD_DISABLE;
  if (HAL_TIM_Base_Init(&htim4) != HAL_OK)
  {
    Error_Handler();
  }
  sClockSourceConfig.ClockSource = TIM_CLOCKSOURCE_INTERNAL;
  if (HAL_TIM_ConfigClockSource(&htim4, &sClockSourceConfig) != HAL_OK)
  {
    Error_Handler();
  }
  sMasterConfig.MasterOutputTrigger = TIM_TRGO_UPDATE;
  sMasterConfig.MasterSlaveMode = TIM_MASTERSLAVEMODE_DISABLE;
  if (HAL_TIMEx_MasterConfigSynchronization(&htim4, &sMasterConfig) != HAL_OK)
  {
    Error_Handler();
  }

}

static void MX_USART1_UART_Init(void)
{

  huart1.Instance = USART1;
  huart1.Init.BaudRate = 115200;
  huart1.Init.WordLength = UART_WORDLENGTH_8B;
  huart1.Init.StopBits = UART_STOPBITS_1;
  huart1.Init.Parity = UART_PARITY_NONE;
  huart1.Init.Mode = UART_MODE_TX_RX;
  huart1.Init.HwFlowCtl = UART_HWCONTROL_NONE;
  huart1.Init.OverSampling = UART_OVERSAMPLING_16;
  huart1.Init.OneBitSampling = UART_ONE_BIT_SAMPLE_DISABLE;
  huart1.AdvancedInit.AdvFeatureInit = UART_ADVFEATURE_NO_INIT;
  if (HAL_UART_Init(&huart1) != HAL_OK)
  {
    Error_Handler();
  }

}

static void MX_USART2_UART_Init(void)
{

  huart2.Instance = USART2;
  huart2.Init.BaudRate = 921600;
  huart2.Init.WordLength = UART_WORDLENGTH_8B;
  huart2.Init.StopBits = UART_STOPBITS_1;
  huart2.Init.Parity = UART_PARITY_NONE;
  huart2.Init.Mode = UART_MODE_TX_RX;
  huart2.Init.HwFlowCtl = UART_HWCONTROL_NONE;
  huart2.Init.OverSampling = UART_OVERSAMPLING_16;
  huart2.Init.OneBitSampling = UART_ONE_BIT_SAMPLE_DISABLE;
  huart2.AdvancedInit.AdvFeatureInit = UART_ADVFEATURE_NO_INIT;
  if (HAL_UART_Init(&huart2) != HAL_OK)
  {
    Error_Handler();
  }

}

static void MX_USART3_UART_Init(void)
{

  huart3.Instance = USART3;
  huart3.Init.BaudRate = 38400;
  huart3.Init.WordLength = UART_WORDLENGTH_8B;
  huart3.Init.StopBits = UART_STOPBITS_1;
  huart3.Init.Parity = UART_PARITY_NONE;
  huart3.Init.Mode = UART_MODE_TX_RX;
  huart3.Init.HwFlowCtl = UART_HWCONTROL_NONE;
  huart3.Init.OverSampling = UART_OVERSAMPLING_16;
  huart3.Init.OneBitSampling = UART_ONE_BIT_SAMPLE_DISABLE;
  huart3.AdvancedInit.AdvFeatureInit = UART_ADVFEATURE_NO_INIT;
  if (HAL_UART_Init(&huart3) != HAL_OK)
  {
    Error_Handler();
  }

}

static void MX_DMA_Init(void)
{

  /* DMA controller clock enable */
  __HAL_RCC_DMA1_CLK_ENABLE();

  /* DMA interrupt init */
  /* DMA1_Channel1_IRQn interrupt configuration */
  HAL_NVIC_SetPriority(DMA1_Channel1_IRQn, 0, 0);
  HAL_NVIC_EnableIRQ(DMA1_Channel1_IRQn);
  /* DMA1_Channel2_IRQn interrupt configuration */
  HAL_NVIC_SetPriority(DMA1_Channel2_IRQn, 0, 0);
  HAL_NVIC_EnableIRQ(DMA1_Channel2_IRQn);
  /* DMA1_Channel3_IRQn interrupt configuration */
  HAL_NVIC_SetPriority(DMA1_Channel3_IRQn, 0, 0);
  HAL_NVIC_EnableIRQ(DMA1_Channel3_IRQn);
  /* DMA1_Channel4_IRQn interrupt configuration */
  HAL_NVIC_SetPriority(DMA1_Channel4_IRQn, 0, 0);
  HAL_NVIC_EnableIRQ(DMA1_Channel4_IRQn);
  /* DMA1_Channel7_IRQn interrupt configuration */
  HAL_NVIC_SetPriority(DMA1_Channel7_IRQn, 0, 0);
  HAL_NVIC_EnableIRQ(DMA1_Channel7_IRQn);

}

static void MX_GPIO_Init(void)
{
  GPIO_InitTypeDef GPIO_InitStruct = {0};

  /* GPIO Ports Clock Enable */
  __HAL_RCC_GPIOC_CLK_ENABLE();
  __HAL_RCC_GPIOF_CLK_ENABLE();
  __HAL_RCC_GPIOA_CLK_ENABLE();
  __HAL_RCC_GPIOB_CLK_ENABLE();

  /*Configure GPIO pin Output Level */
  HAL_GPIO_WritePin(GPIOA, LD2_Pin|GPIO_PIN_6|GPIO_PIN_7, GPIO_PIN_RESET);

  /*Configure GPIO pin Output Level */
  HAL_GPIO_WritePin(GPIOC, GPIO_PIN_7, GPIO_PIN_RESET);

  /*Configure GPIO pin Output Level */
  HAL_GPIO_WritePin(GPIOB, GPIO_PIN_6, GPIO_PIN_RESET);

  /*Configure GPIO pin : B1_Pin */
  GPIO_InitStruct.Pin = B1_Pin;
  GPIO_InitStruct.Mode = GPIO_MODE_IT_FALLING;
  GPIO_InitStruct.Pull = GPIO_NOPULL;
  HAL_GPIO_Init(B1_GPIO_Port, &GPIO_InitStruct);

  /*Configure GPIO pins : LD2_Pin PA6 PA7 */
  GPIO_InitStruct.Pin = LD2_Pin|GPIO_PIN_6|GPIO_PIN_7;
  GPIO_InitStruct.Mode = GPIO_MODE_OUTPUT_PP;
  GPIO_InitStruct.Pull = GPIO_NOPULL;
  GPIO_InitStruct.Speed = GPIO_SPEED_FREQ_LOW;
  HAL_GPIO_Init(GPIOA, &GPIO_InitStruct);

  /*Configure GPIO pin : PC7 */
  GPIO_InitStruct.Pin = GPIO_PIN_7;
  GPIO_InitStruct.Mode = GPIO_MODE_OUTPUT_PP;
  GPIO_InitStruct.Pull = GPIO_NOPULL;
  GPIO_InitStruct.Speed = GPIO_SPEED_FREQ_LOW;
  HAL_GPIO_Init(GPIOC, &GPIO_InitStruct);

  /*Configure GPIO pin : PB6 */
  GPIO_InitStruct.Pin = GPIO_PIN_6;
  GPIO_InitStruct.Mode = GPIO_MODE_OUTPUT_PP;
  GPIO_InitStruct.Pull = GPIO_NOPULL;
  GPIO_InitStruct.Speed = GPIO_SPEED_FREQ_LOW;
  HAL_GPIO_Init(GPIOB, &GPIO_InitStruct);

}

/* USER CODE BEGIN 4 */

// when half or full buffer

// Called when buffer is completely filled
void HAL_ADC_ConvHalfCpltCallback(ADC_HandleTypeDef* hadc) {
	// reset sync timer until not locked while time frame received
	if (!lockSyncTimerReset) __HAL_TIM_SET_COUNTER(&htim1, 0);

	rfFrameUpdated = 0;
	afFrameToUpdate = 0;

}
void HAL_ADC_ConvCpltCallback(ADC_HandleTypeDef* hadc) {
	// reset sync timer until not locked while time frame received
	if (!lockSyncTimerReset) __HAL_TIM_SET_COUNTER(&htim1, 0);

	rfFrameUpdated = INPUT_HALF_SAMPLES;
	afFrameToUpdate = AF_HALF_SAMPLES;
}

void HAL_TIM_PeriodElapsedCallback(TIM_HandleTypeDef *htim) {
	if (htim->Instance == TIM2) {
		// 1PPS timer
		mstTimer++;
		wasTick = 1;
	} else if (htim->Instance == TIM1 ) {
		// sync timer
		// now we are 2 secs + 8000 ticks (interrupt period) + syncTimerOffset samples from sync time.
		// so we add 2 seconds to timestamp received from eCzas frame (done in main loop)
		// also we need to push PPS timer by some extra time forward, which happens here
		__HAL_TIM_SET_COUNTER(&htim2, 8000+syncTimerOffset*AF_TICKS_PER_SAMPLE);

		wasSyncIRQ = 1;
	}

}
/* USER CODE END 4 */

void Error_Handler(void)
{
  __disable_irq();
  while (1)
  {
  }
}
